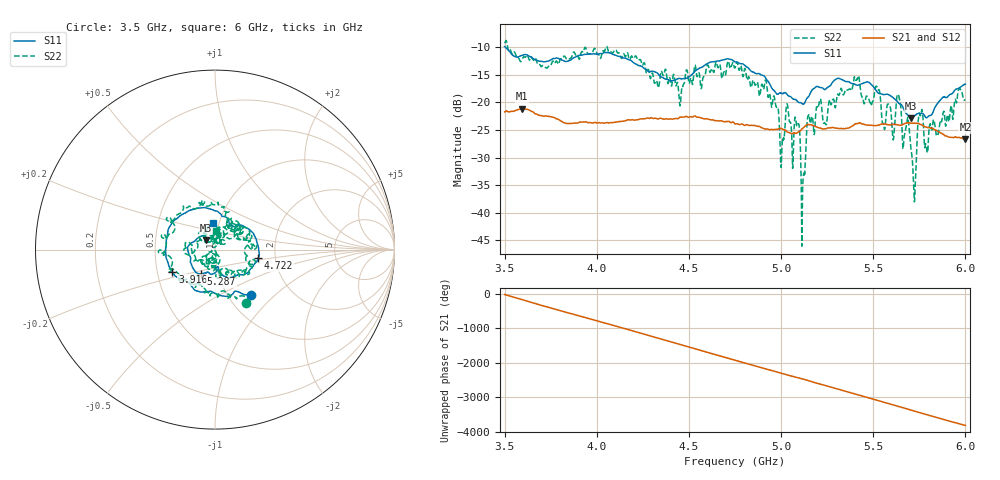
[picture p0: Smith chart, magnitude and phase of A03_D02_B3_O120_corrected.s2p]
! Created with skrf 1.9.0 (http://scikit-rf.org).
# Hz S RI R 50.0
!freq ReS11 ImS11 ReS21 ImS21 ReS12 ImS12 ReS22 ImS22
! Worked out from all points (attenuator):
!   1601 points, 3.5 GHz to 6 GHz, reference 50 ohm
!   highest |S21| = -21.15 dB at 3.592 GHz (marker M1); lowest = -26.7 dB at 6 GHz (marker M2)
!   lowest |S11| = -22.9 dB at 5.703 GHz (marker M3), VSWR 1.15, Z = 45.1 + j4.77 ohm
!   |S11| at or under -10 dB: 3.505 GHz to end of sweep
!   |S22| runs from -46.0 to -8.8 dB; largest |S21 - S12| = 0.001
!   S11 on the Smith chart (normalised r, x): 3.5 GHz: 1.27, -0.72; 3.916 GHz: 0.60, -0.16; 4.722 GHz: 1.62, -0.17; 5.287 GHz: 0.83, -0.23; 6 GHz: 0.94, +0.28
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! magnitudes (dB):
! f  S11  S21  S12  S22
! 3.5 GHz  -9.9  -21.7  -21.7  -9.3
! 3.592 GHz  -11.5  -21.2  -21.2  -12.4
! 3.916 GHz  -11.5  -23.6  -23.5  -11.0
! 3.917 GHz  -11.5  -23.6  -23.5  -10.8
! 4.334 GHz  -14.9  -23.0  -22.9  -17.3
! 4.722 GHz  -12.2  -23.5  -23.5  -13.7
! 4.75 GHz  -12.6  -23.9  -23.8  -13.7
! 4.969 GHz  -18.1  -24.9  -24.8  -20.2
! 5.005 GHz  -18.3  -24.8  -24.7  -28.1
! 5.086 GHz  -19.7  -25.5  -25.5  -24.3
! 5.119 GHz  -20.3  -24.7  -24.6  -34.2
! 5.145 GHz  -19.1  -24.0  -24.0  -22.5
! 5.167 GHz  -17.8  -24.1  -24.0  -22.5
! 5.287 GHz  -16.0  -24.6  -24.6  -19.6
! 5.409 GHz  -16.9  -23.9  -23.8  -16.0
! 5.584 GHz  -18.6  -24.0  -24.0  -20.3
! 5.638 GHz  -20.1  -24.1  -24.0  -18.7
! 5.703 GHz  -22.9  -23.8  -23.7  -27.9
! 5.722 GHz  -22.4  -23.8  -23.7  -37.1
! 5.756 GHz  -22.0  -24.0  -23.9  -22.4
! 5.787 GHz  -22.8  -24.5  -24.4  -27.7
! 6 GHz  -16.7  -26.7  -26.6  -19.6
